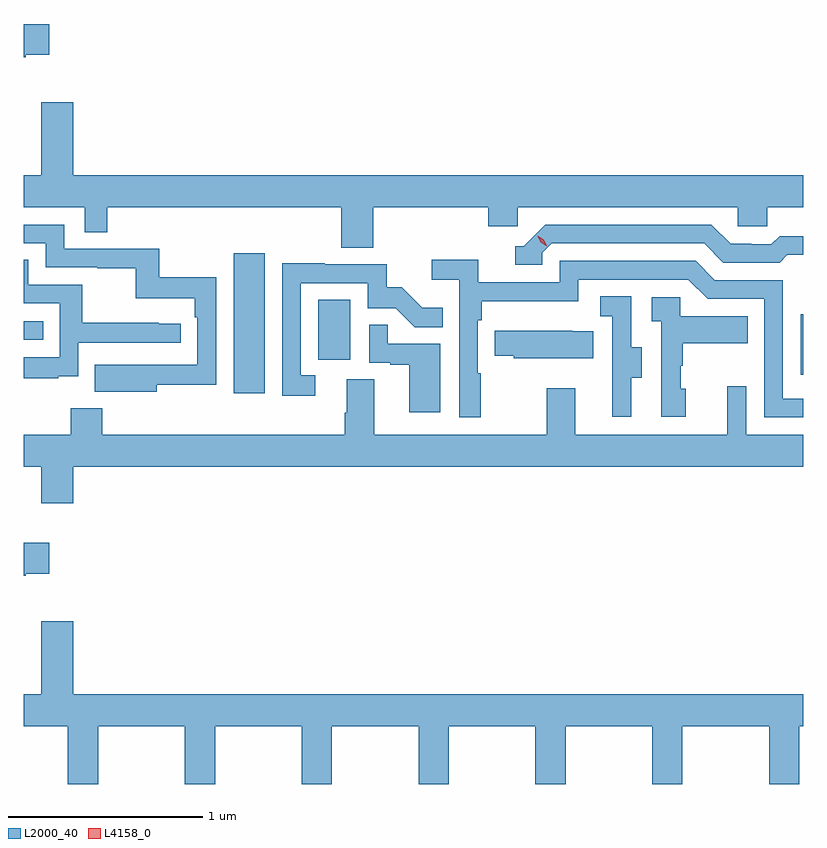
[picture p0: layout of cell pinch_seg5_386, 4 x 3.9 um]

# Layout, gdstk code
import gdstk
lib = gdstk.Library(unit=1e-6, precision=1e-09)
def R(c, l, rs):  # rectangles x0, y0, x1, y1
    for r in rs: c.add(gdstk.rectangle(r[:2], r[2:], *l))
def P(c, l, *ps):  # polygons
    for p in ps: c.add(gdstk.Polygon(p, *l))
L2000_40 = (2000, 40)
L4158_0 = (4158, 0)

pinch_seg5_386 = lib.new_cell('pinch_seg5_386')
R(pinch_seg5_386, L2000_40, [(957.203,873.12,957.364,873.841), (960.114,873.216,960.127,873.526), (957.638,873.294,957.802,873.601), (956.127,873.396,956.225,873.492)])
P(pinch_seg5_386, L2000_40, [(956.136,874.859),(956.257,874.859),(956.257,875.017),(956.127,875.017),(956.127,874.847),(956.136,874.847)],
  [(957.92,874.076),(958.511,874.076),(958.511,873.978),(958.662,873.978),(958.662,874.076),(959.793,874.076),(959.793,873.978),(959.943,873.978),(959.943,874.076),(960.127,874.076),(960.127,874.24),(956.38,874.24),(956.38,874.615),(956.216,874.615),(956.216,874.24),(956.127,874.24),(956.127,874.076),(956.439,874.076),(956.439,873.949),(956.555,873.949),(956.555,874.076),(957.755,874.076),(957.755,873.868),(957.92,873.868)],
  [(958.788,873.843),(958.836,873.891),(959.619,873.891),(959.718,873.792),(960.007,873.792),(960.046,873.831),(960.127,873.831),(960.127,873.928),(960.007,873.928),(959.965,873.885),(959.862,873.885),(959.862,873.888),(959.755,873.888),(959.656,873.987),(958.803,873.987),(958.692,873.876),(958.649,873.876),(958.649,873.78),(958.788,873.78)],
  [(956.809,873.166),(957.114,873.166),(957.114,873.718),(956.821,873.718),(956.821,873.864),(956.334,873.864),(956.334,873.987),(956.127,873.987),(956.127,873.891),(956.238,873.891),(956.238,873.768),(956.503,873.768),(956.503,873.763),(956.7,873.763),(956.7,873.608),(957.005,873.608),(957.005,873.512),(957.018,873.512),(957.018,873.267),(956.705,873.267),(956.705,873.268),(956.491,873.268),(956.491,873.128),(956.809,873.128)],
  [(956.303,873.209),(956.406,873.209),(956.406,873.381),(956.932,873.381),(956.932,873.477),(956.819,873.477),(956.819,873.482),(956.426,873.482),(956.426,873.678),(956.149,873.678),(956.149,873.806),(956.127,873.806),(956.127,873.582),(956.31,873.582),(956.31,873.306),(956.127,873.306),(956.127,873.198),(956.303,873.198)],
  [(958.471,873.224),(958.458,873.224),(958.458,873.497),(958.478,873.497),(958.478,873.593),(958.974,873.593),(958.974,873.705),(959.538,873.705),(959.637,873.606),(959.928,873.606),(959.928,872.997),(960.127,872.997),(960.127,873.093),(960.024,873.093),(960.024,873.702),(959.674,873.702),(959.575,873.801),(958.878,873.801),(958.878,873.69),(958.46,873.69),(958.46,873.806),(958.221,873.806),(958.221,873.704),(958.362,873.704),(958.362,872.997),(958.471,872.997)],
  [(957.622,873.213),(957.549,873.213),(957.549,873.687),(957.891,873.687),(957.891,873.558),(958.035,873.558),(958.133,873.46),(958.277,873.46),(958.277,873.559),(958.173,873.559),(958.066,873.666),(957.99,873.666),(957.99,873.783),(957.671,873.783),(957.671,873.788),(957.453,873.788),(957.453,873.108),(957.622,873.108)],
  [(959.245,873.202),(959.299,873.202),(959.299,873.357),(959.244,873.357),(959.244,873.62),(959.085,873.62),(959.085,873.517),(959.148,873.517),(959.148,873.213),(959.147,873.213),(959.147,873),(959.245,873)],
  [(959.524,873.144),(959.499,873.144),(959.499,873.263),(959.509,873.263),(959.509,873.377),(959.843,873.377),(959.843,873.517),(959.496,873.517),(959.496,873.615),(959.349,873.615),(959.349,873.491),(959.4,873.491),(959.4,873),(959.524,873)],
  [(958.264,873.375),(957.995,873.375),(957.995,873.473),(957.9,873.473),(957.9,873.279),(958.007,873.279),(958.007,873.267),(958.106,873.267),(958.106,873.024),(958.264,873.024)],
  [(959.051,873.439),(958.943,873.439),(958.943,873.442),(958.543,873.442),(958.543,873.313),(958.641,873.313),(958.641,873.302),(959.051,873.302)],
  [(956.38,872.744),(960.127,872.744),(960.127,872.908),(959.835,872.908),(959.835,873.157),(959.738,873.157),(959.738,872.908),(958.957,872.908),(958.957,873.148),(958.81,873.148),(958.81,872.908),(957.925,872.908),(957.925,873.194),(957.785,873.194),(957.785,873.02),(957.773,873.02),(957.773,872.908),(956.528,872.908),(956.528,873.043),(956.368,873.043),(956.368,872.908),(956.127,872.908),(956.127,872.744),(956.216,872.744),(956.216,872.556),(956.38,872.556)],
  [(956.136,872.195),(956.257,872.195),(956.257,872.353),(956.127,872.353),(956.127,872.183),(956.136,872.183)],
  [(956.508,871.412),(956.953,871.412),(956.953,871.115),(957.108,871.115),(957.108,871.412),(957.553,871.412),(957.553,871.115),(957.708,871.115),(957.708,871.412),(958.153,871.412),(958.153,871.115),(958.308,871.115),(958.308,871.412),(958.753,871.412),(958.753,871.115),(958.908,871.115),(958.908,871.412),(959.353,871.412),(959.353,871.115),(959.508,871.115),(959.508,871.412),(959.953,871.412),(959.953,871.115),(960.108,871.115),(960.108,871.412),(960.127,871.412),(960.127,871.576),(956.38,871.576),(956.38,871.951),(956.216,871.951),(956.216,871.576),(956.127,871.576),(956.127,871.412),(956.353,871.412),(956.353,871.115),(956.508,871.115)])
P(pinch_seg5_386, L4158_0, [(958.81,873.876),(958.78,873.896),(958.764,873.928),(958.764,873.929),(958.764,873.929),(958.795,873.909),(958.811,873.876),(958.811,873.876)])

lib.write_gds('pinch_seg5_386.gds')
